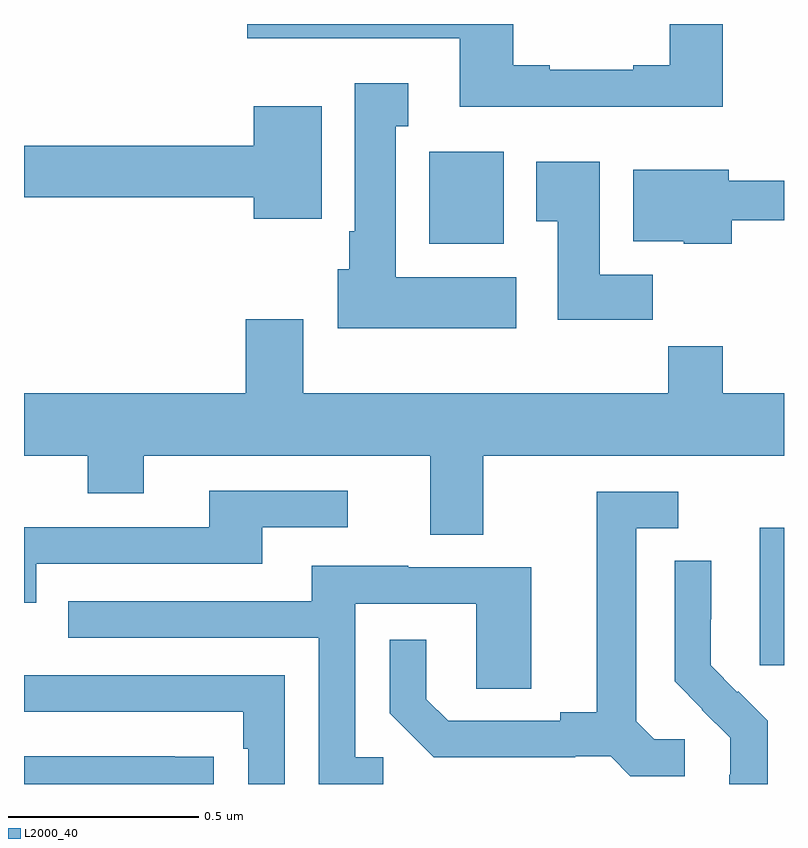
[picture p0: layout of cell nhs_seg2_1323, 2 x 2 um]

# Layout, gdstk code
import gdstk
lib = gdstk.Library(unit=1e-6, precision=1e-09)
def R(c, l, rs):  # rectangles x0, y0, x1, y1
    for r in rs: c.add(gdstk.rectangle(r[:2], r[2:], *l))
def P(c, l, *ps):  # polygons
    for p in ps: c.add(gdstk.Polygon(p, *l))
L2000_40 = (2000, 40)

nhs_seg2_1323 = lib.new_cell('nhs_seg2_1323')
R(nhs_seg2_1323, L2000_40, [(128.936,619.113,129,619.474), (128.066,620.222,128.263,620.464)])
P(nhs_seg2_1323, L2000_40, [(128.839,620.8),(128.699,620.8),(128.699,620.692),(128.603,620.692),(128.603,620.679),(128.383,620.679),(128.383,620.692),(128.287,620.692),(128.287,620.8),(127.587,620.8),(127.587,620.763),(128.147,620.763),(128.147,620.582),(128.839,620.582)],
  [(128.296,620.134),(127.978,620.134),(127.978,620.531),(128.011,620.531),(128.011,620.644),(127.871,620.644),(127.871,620.254),(127.856,620.254),(127.856,620.154),(127.826,620.154),(127.826,620),(128.296,620)],
  [(127.783,620.584),(127.604,620.584),(127.604,620.48),(127,620.48),(127,620.344),(127.604,620.344),(127.604,620.288),(127.783,620.288)],
  [(128.654,620.14),(128.515,620.14),(128.515,620.437),(128.348,620.437),(128.348,620.281),(128.405,620.281),(128.405,620.022),(128.654,620.022)],
  [(128.862,620.284),(129,620.284),(129,620.388),(128.854,620.388),(128.854,620.416),(128.603,620.416),(128.603,620.228),(128.736,620.228),(128.736,620.222),(128.862,620.222)],
  [(128.695,619.952),(128.695,619.828),(127.735,619.828),(127.735,620.023),(127.583,620.023),(127.583,619.828),(127,619.828),(127,619.664),(127.168,619.664),(127.168,619.565),(127.315,619.565),(127.315,619.664),(128.069,619.664),(128.069,619.456),(128.209,619.456),(128.209,619.664),(129,619.664),(129,619.828),(128.839,619.828),(128.839,619.952)],
  [(127.032,619.38),(127.627,619.38),(127.627,619.476),(127.852,619.476),(127.852,619.572),(127.487,619.572),(127.487,619.476),(127,619.476),(127,619.277),(127.032,619.277)],
  [(128.739,618.918),(128.658,618.918),(128.611,618.965),(128.611,619.473),(128.722,619.473),(128.722,619.569),(128.507,619.569),(128.507,618.989),(128.411,618.989),(128.411,618.966),(128.116,618.966),(128.059,619.023),(128.059,619.18),(127.962,619.18),(127.962,618.986),(128.078,618.87),(128.45,618.87),(128.45,618.873),(128.544,618.873),(128.596,618.821),(128.739,618.821)],
  [(128.957,618.967),(128.88,619.044),(128.877,619.041),(128.807,619.112),(128.807,619.234),(128.808,619.234),(128.808,619.388),(128.712,619.388),(128.712,619.07),(128.785,618.997),(128.784,618.996),(128.858,618.922),(128.858,618.825),(128.856,618.825),(128.856,618.8),(128.957,618.8)],
  [(127.945,618.87),(127.872,618.87),(127.872,619.275),(128.19,619.275),(128.19,619.051),(128.335,619.051),(128.335,619.371),(128.011,619.371),(128.011,619.375),(127.757,619.375),(127.757,619.281),(127.117,619.281),(127.117,619.185),(127.776,619.185),(127.776,618.8),(127.945,618.8)],
  [(127.686,619.086),(127,619.086),(127,618.99),(127.577,618.99),(127.577,618.893),(127.59,618.893),(127.59,618.8),(127.686,618.8)],
  [(127.499,618.872),(127.397,618.872),(127.397,618.873),(127,618.873),(127,618.8),(127.499,618.8)])

lib.write_gds('nhs_seg2_1323.gds')
